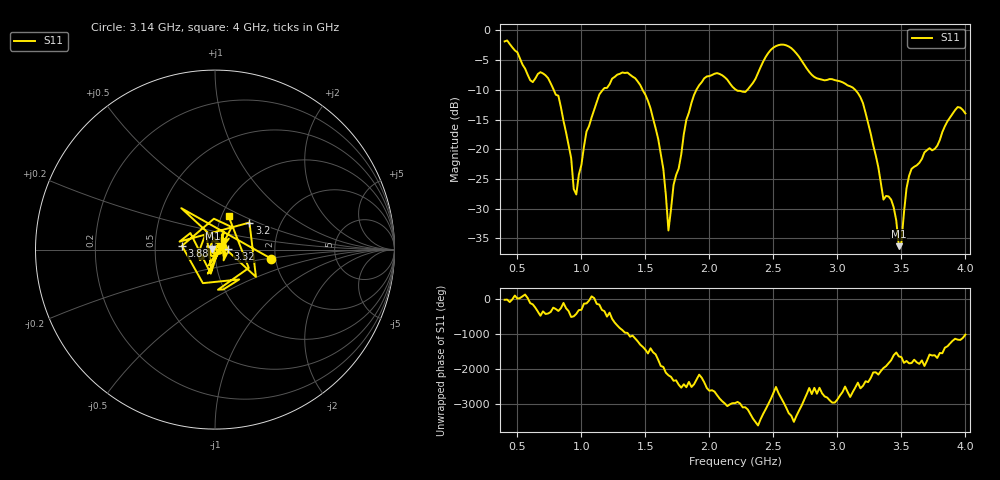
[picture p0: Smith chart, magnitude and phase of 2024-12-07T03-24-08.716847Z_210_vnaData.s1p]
!Created with skrf (http://scikit-rf.org).
# Hz S RI R 50.0
!freq ReS11 ImS11
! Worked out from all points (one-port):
!   181 points, 400 MHz to 4 GHz, reference 50 ohm
!   lowest |S11| = -36.3 dB at 3.48 GHz (marker M1), VSWR 1.03, Z = 48.6 + j0.467 ohm
!   |S11| at or under -10 dB: 783.5 MHz to 1.168 GHz (384.1 MHz wide, 39.4 % of centre); 1.478 GHz to 1.898 GHz (420.5 MHz wide, 24.9 % of centre); 3.139 GHz to end of sweep (the widest 3 of 4)
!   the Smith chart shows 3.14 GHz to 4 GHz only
!   S11 on the Smith chart (normalised r, x): 3.14 GHz: 1.89, -0.21; 3.2 GHz: 1.39, +0.45; 3.32 GHz: 1.15, +0.00; 3.88 GHz: 0.69, +0.03; 4 GHz: 1.08, +0.42
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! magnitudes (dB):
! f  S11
! 400 MHz  -1.8
! 600 MHz  -8.4
! 740 MHz  -8.0
! 860 MHz  -15.2
! 960 MHz  -27.6
! 1.04 GHz  -17.0
! 1.14 GHz  -10.8
! 1.3 GHz  -7.3
! 1.54 GHz  -13.1
! 1.64 GHz  -23.3
! 1.68 GHz  -33.7
! 1.72 GHz  -26.0
! 1.76 GHz  -23.2
! 1.82 GHz  -15.0
! 1.92 GHz  -9.2
! 2.2 GHz  -9.9
! 2.5 GHz  -2.9
! 2.66 GHz  -3.4
! 3.1 GHz  -9.4
! 3.14 GHz  -10.0
! 3.2 GHz  -12.3
! 3.32 GHz  -23.1
! 3.36 GHz  -28.5
! 3.44 GHz  -29.8
! 3.48 GHz  -36.3
! 3.56 GHz  -24.5
! 3.88 GHz  -14.6
! 4 GHz  -14.0
